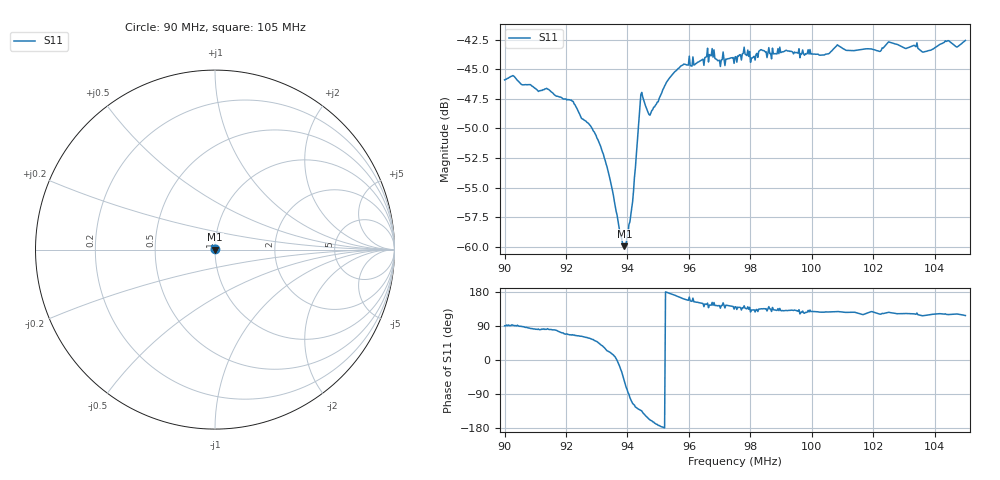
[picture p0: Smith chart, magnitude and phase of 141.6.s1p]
# HZ S RI R 50
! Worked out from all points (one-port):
!   505 points, 90 MHz to 105 MHz, reference 50 ohm
!   lowest |S11| = -59.9 dB at 93.9 MHz (marker M1), VSWR 1.00, Z = 50.1 - j0.0827 ohm
!   |S11| at or under -10 dB: start of sweep to end of sweep
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9e7  -2.8e-05 0.00506
9.026786e7  -0.000143 0.00528
9.187501e7  0.00134 0.00403
9.223215e7  0.00171 0.00374
9.303572e7  0.00195 0.00206
9.339287e7  0.00187 0.000764
9.375001e7  0.0011 -0.000352
9.389882e7  0.000577 -0.000826
9.398811e7  0.000232 -0.00108
9.413692e7  -0.000488 -0.00137
9.440478e7  -0.00258 -0.0029
9.44643e7  -0.00314 -0.0032
9.476192e7  -0.00344 -0.00129
9.562502e7  -0.00549 0.00116
9.675597e7  -0.00606 0.00323
9.696431e7  -0.00492 0.00364
9.750002e7  -0.00488 0.00402
9.80655e7  -0.00419 0.00466
9.836312e7  -0.00482 0.00478
9.937503e7  -0.00438 0.00499
1.003572e8  -0.00381 0.0052
1.008631e8  -0.00433 0.00558
1.0125e8  -0.00395 0.00547
1.022024e8  -0.00347 0.00571
1.025298e8  -0.00424 0.00596
1.03125e8  -0.00371 0.00584
1.036608e8  -0.00305 0.00592
1.05e8  -0.00342 0.0066
